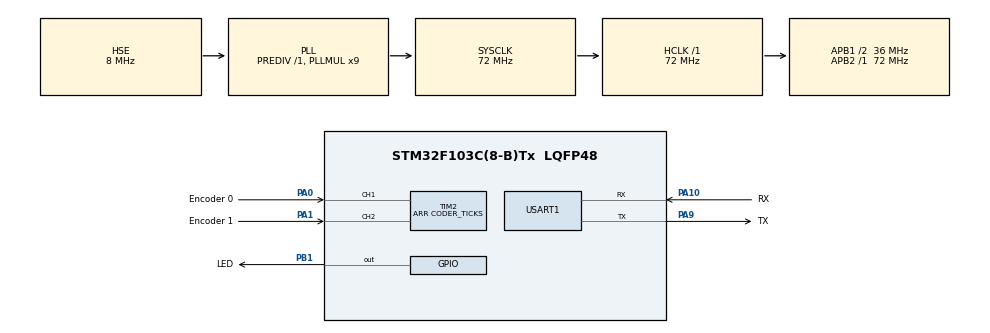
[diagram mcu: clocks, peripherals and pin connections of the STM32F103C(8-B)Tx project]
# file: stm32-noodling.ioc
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Dma.Request0=TIM3_CH1/TRIG
Dma.TIM3_CH1/TRIG.0.Direction=DMA_PERIPH_TO_MEMORY
Dma.TIM3_CH1/TRIG.0.Instance=DMA1_Channel6
Dma.TIM3_CH1/TRIG.0.MemDataAlignment=DMA_MDATAALIGN_WORD
Dma.TIM3_CH1/TRIG.0.MemInc=DMA_MINC_DISABLE
Dma.TIM3_CH1/TRIG.0.Mode=DMA_NORMAL
Dma.TIM3_CH1/TRIG.0.PeriphDataAlignment=DMA_PDATAALIGN_WORD
Dma.TIM3_CH1/TRIG.0.PeriphInc=DMA_PINC_DISABLE
Dma.TIM3_CH1/TRIG.0.Priority=DMA_PRIORITY_LOW
Mcu.Family=STM32F1
Mcu.Name=STM32F103C(8-B)Tx
Mcu.Package=LQFP48
Mcu.UserConstants=CODER_TICKS,256;CODER_TIMEOUT_NS,999
NVIC.DMA1_Channel6_IRQn=true\:0\:0\:false\:false\:true\:false
NVIC.PriorityGroup=NVIC_PRIORITYGROUP_4
NVIC.USART1_IRQn=true\:0\:0\:false\:false\:true\:true
PA0-WKUP.GPIO_Label=Encoder 0
PA0-WKUP.GPIO_PuPd=GPIO_PULLUP
PA0-WKUP.Signal=S_TIM2_CH1_ETR
PA1.GPIO_Label=Encoder 1
PA1.GPIO_PuPd=GPIO_PULLUP
PA1.Signal=S_TIM2_CH2
PA10.GPIO_Label=RX
PA10.Mode=Asynchronous
PA10.Signal=USART1_RX
PA9.GPIO_Label=TX
PA9.Mode=Asynchronous
PA9.Signal=USART1_TX
PB1.GPIO_Label=LED
PB1.GPIO_PuPd=GPIO_PULLUP
PB1.Signal=GPIO_Output
PC14-OSC32_IN.Mode=LSE-External-Clock-Source
PC14-OSC32_IN.Signal=RCC_OSC32_IN
PC15-OSC32_OUT.Mode=LSE-External-Clock-Source
PC15-OSC32_OUT.Signal=RCC_OSC32_OUT
PD0-OSC_IN.Mode=HSE-External-Oscillator
PD0-OSC_IN.Signal=RCC_OSC_IN
PD1-OSC_OUT.Mode=HSE-External-Oscillator
PD1-OSC_OUT.Signal=RCC_OSC_OUT
ProjectManager.HeapSize=0x200
ProjectManager.StackSize=0x400
ProjectManager.TargetToolchain=Makefile
RCC.AHBFreq_Value=72000000
RCC.APB1CLKDivider=RCC_HCLK_DIV2
RCC.APB1Freq_Value=36000000
RCC.APB1TimFreq_Value=72000000
RCC.APB2Freq_Value=72000000
RCC.APB2TimFreq_Value=72000000
RCC.HCLKFreq_Value=72000000
RCC.PLLMUL=RCC_PLL_MUL9
RCC.PLLSourceVirtual=RCC_PLLSOURCE_HSE
RCC.SYSCLKFreq_VALUE=72000000
RCC.SYSCLKSource=RCC_SYSCLKSOURCE_PLLCLK
RCC.USBFreq_Value=48000000
RCC.USBPrescaler=RCC_USBCLKSOURCE_PLL_DIV1_5
SH.S_TIM2_CH1_ETR.0=TIM2_CH1,Encoder_Interface
SH.S_TIM2_CH2.0=TIM2_CH2,Encoder_Interface
TIM2.EncoderMode=TIM_ENCODERMODE_TI12
TIM2.IC1Filter=2
TIM2.IC2Filter=2
TIM2.Period=CODER_TICKS
TIM3.Channel-Output\ Compare1\ No\ Output=TIM_CHANNEL_1
TIM3.OCMode_1=TIM_OCMODE_TOGGLE
TIM3.Period=65535
TIM3.Prescaler=71
TIM3.Pulse-Output\ Compare1\ No\ Output=CODER_TIMEOUT_NS
USART1.VirtualMode=VM_ASYNC
VP_SYS_VS_ND.Mode=No_Debug
VP_TIM3_VS_ClockSourceINT.Mode=Internal
VP_TIM3_VS_ClockSourceITR.Mode=TriggerSource_ITR1
VP_TIM3_VS_ControllerModeReset.Mode=Reset Mode
VP_TIM3_VS_no_output1.Mode=Output Compare1 No Output
board=custom

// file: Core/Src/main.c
/**
  ******************************************************************************
  * @file           : main.c
  * @brief          : Main program body
  ******************************************************************************
  ** This notice applies to any and all portions of this file
  * that are not between comment pairs USER CODE BEGIN and
  * USER CODE END. Other portions of this file, whether
  * inserted by the user or by software development tools
  * are owned by their respective copyright owners.
  *
  * COPYRIGHT(c) 2018 STMicroelectronics
  *
  * Redistribution and use in source and binary forms, with or without modification,
  * are permitted provided that the following conditions are met:
  *   1. Redistributions of source code must retain the above copyright notice,
  *      this list of conditions and the following disclaimer.
  *   2. Redistributions in binary form must reproduce the above copyright notice,
  *      this list of conditions and the following disclaimer in the documentation
  *      and/or other materials provided with the distribution.
  *   3. Neither the name of STMicroelectronics nor the names of its contributors
  *      may be used to endorse or promote products derived from this software
  *      without specific prior written permission.
  *
  * THIS SOFTWARE IS PROVIDED BY THE COPYRIGHT HOLDERS AND CONTRIBUTORS "AS IS"
  * AND ANY EXPRESS OR IMPLIED WARRANTIES, INCLUDING, BUT NOT LIMITED TO, THE
  * IMPLIED WARRANTIES OF MERCHANTABILITY AND FITNESS FOR A PARTICULAR PURPOSE ARE
  * DISCLAIMED. IN NO EVENT SHALL THE COPYRIGHT HOLDER OR CONTRIBUTORS BE LIABLE
  * FOR ANY DIRECT, INDIRECT, INCIDENTAL, SPECIAL, EXEMPLARY, OR CONSEQUENTIAL
  * DAMAGES (INCLUDING, BUT NOT LIMITED TO, PROCUREMENT OF SUBSTITUTE GOODS OR
  * SERVICES; LOSS OF USE, DATA, OR PROFITS; OR BUSINESS INTERRUPTION) HOWEVER
  * CAUSED AND ON ANY THEORY OF LIABILITY, WHETHER IN CONTRACT, STRICT LIABILITY,
  * OR TORT (INCLUDING NEGLIGENCE OR OTHERWISE) ARISING IN ANY WAY OUT OF THE USE
  * OF THIS SOFTWARE, EVEN IF ADVISED OF THE POSSIBILITY OF SUCH DAMAGE.
  *
  ******************************************************************************
  */
#include "main.h"
#include "stm32f1xx_hal.h"
#include "dma.h"
#include "tim.h"
#include "usart.h"
#include "gpio.h"

/* USER CODE BEGIN Includes */
#include "util.h"
#include "printf.h"

/* USER CODE END Includes */

/* USER CODE BEGIN PV */
/* Private variables ---------------------------------------------------------*/
uint32_t tim2_shadow[10];
uint32_t tim3_shadow;
/* USER CODE END PV */

void SystemClock_Config(void);

/* USER CODE BEGIN PFP */
/* Private function prototypes -----------------------------------------------*/

/* USER CODE END PFP */

int main(void)
{

  /* MCU Configuration----------------------------------------------------------*/

  /* Reset of all peripherals, Initializes the Flash interface and the Systick. */
  HAL_Init();

  /* Configure the system clock */
  SystemClock_Config();

  /* Initialize all configured peripherals */
  MX_GPIO_Init();
  MX_DMA_Init();
  MX_TIM2_Init();
  MX_TIM3_Init();
  MX_USART1_UART_Init();
  /* USER CODE BEGIN 2 */

  // Start by initialising DMA interrupt for Timer2 CC1.  No hooks in generated hal.c so do it here.
  HAL_NVIC_SetPriority(DMA1_Channel5_IRQn, 0, 0);
  HAL_NVIC_EnableIRQ(DMA1_Channel5_IRQn);

  // Now we need to start the timers.
  // First up, Timer 2
  // This will do DMA on channel 1 capture complete, in order to give us direction and count.  This
  // will be a 0x28 byte block
  // Obviously, we can't do this directly with HAL.
  htim2.hdma[TIM_DMA_ID_CC1]->XferCpltCallback = TIM_DMACaptureCplt;
  htim2.hdma[TIM_DMA_ID_CC1]->XferErrorCallback = TIM_DMAError ;

  HAL_DMA_Start_IT(htim2.hdma[TIM_DMA_ID_CC1], (uint32_t)&htim2.Instance->CR1, (uint32_t )&tim2_shadow, 0x28);

  __HAL_TIM_ENABLE(&htim2);

  TIM_CCxChannelCmd(htim2.Instance, TIM_CHANNEL_1, TIM_CCx_ENABLE);
  TIM_CCxChannelCmd(htim2.Instance, TIM_CHANNEL_2, TIM_CCx_ENABLE);

  __HAL_TIM_ENABLE_DMA(&htim2, TIM_DMA_CC1);
  __HAL_TIM_ENABLE_IT(&htim2, TIM_IT_CC1);

  // And Timer3
  // This will dma on trigger, and have an output compare interrupt
  htim3.hdma[TIM_DMA_ID_TRIGGER]->XferCpltCallback = TIM_DMACaptureCplt;
  htim3.hdma[TIM_DMA_ID_TRIGGER]->XferErrorCallback = TIM_DMAError ;

  HAL_DMA_Start_IT(htim3.hdma[TIM_DMA_ID_TRIGGER], (uint32_t)&htim3.Instance->CNT, (uint32_t )&tim3_shadow, 0x4);

  TIM_CCxChannelCmd(htim3.Instance, TIM_CHANNEL_1, TIM_CCx_ENABLE);

  // We won't start TIM3 yet.

  /* USER CODE END 2 */

  /* Infinite loop */
  /* USER CODE BEGIN WHILE */
  while (1)
  {
    printf("count %li\n", tim2_shadow[9]);

    HAL_Delay(5000);
  /* USER CODE END WHILE */

  }

}

void SystemClock_Config(void)
{

  RCC_OscInitTypeDef RCC_OscInitStruct;
  RCC_ClkInitTypeDef RCC_ClkInitStruct;

    /**Initializes the CPU, AHB and APB busses clocks
    */
  RCC_OscInitStruct.OscillatorType = RCC_OSCILLATORTYPE_HSE;
  RCC_OscInitStruct.HSEState = RCC_HSE_ON;
  RCC_OscInitStruct.HSEPredivValue = RCC_HSE_PREDIV_DIV1;
  RCC_OscInitStruct.HSIState = RCC_HSI_ON;
  RCC_OscInitStruct.PLL.PLLState = RCC_PLL_ON;
  RCC_OscInitStruct.PLL.PLLSource = RCC_PLLSOURCE_HSE;
  RCC_OscInitStruct.PLL.PLLMUL = RCC_PLL_MUL9;
  if (HAL_RCC_OscConfig(&RCC_OscInitStruct) != HAL_OK)
  {
    _Error_Handler(__FILE__, __LINE__);
  }

    /**Initializes the CPU, AHB and APB busses clocks
    */
  RCC_ClkInitStruct.ClockType = RCC_CLOCKTYPE_HCLK|RCC_CLOCKTYPE_SYSCLK
                              |RCC_CLOCKTYPE_PCLK1|RCC_CLOCKTYPE_PCLK2;
  RCC_ClkInitStruct.SYSCLKSource = RCC_SYSCLKSOURCE_PLLCLK;
  RCC_ClkInitStruct.AHBCLKDivider = RCC_SYSCLK_DIV1;
  RCC_ClkInitStruct.APB1CLKDivider = RCC_HCLK_DIV2;
  RCC_ClkInitStruct.APB2CLKDivider = RCC_HCLK_DIV1;

  if (HAL_RCC_ClockConfig(&RCC_ClkInitStruct, FLASH_LATENCY_2) != HAL_OK)
  {
    _Error_Handler(__FILE__, __LINE__);
  }

    /**Configure the Systick interrupt time
    */
  HAL_SYSTICK_Config(HAL_RCC_GetHCLKFreq()/1000);

    /**Configure the Systick
    */
  HAL_SYSTICK_CLKSourceConfig(SYSTICK_CLKSOURCE_HCLK);

  /* SysTick_IRQn interrupt configuration */
  HAL_NVIC_SetPriority(SysTick_IRQn, 0, 0);
}

void _Error_Handler(char *file, int line)
{
  while(1)
  {
  }
}

/************************ (C) COPYRIGHT STMicroelectronics *****END OF FILE****/
